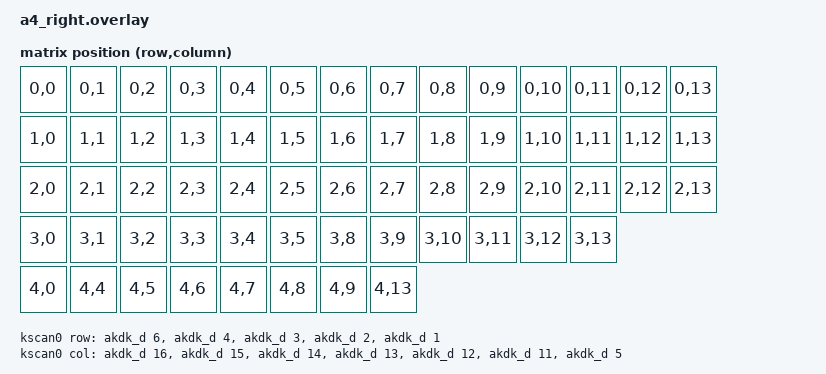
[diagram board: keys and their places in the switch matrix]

#include <dt-bindings/zmk/matrix_transform.h>
#include <input/processors.dtsi>
#include <dt-bindings/zmk/input_transform.h>
#include "layouts.dtsi"

/ {
    chosen {
        zmk,physical-layout = &physical_layout0;
    };

    default_transform: keymap_transform_0 {
        compatible = "zmk,matrix-transform";
        columns = <14>;
        rows = <5>;
        map = <
            RC(0,0) RC(0,1) RC(0,2) RC(0,3) RC(0,4) RC(0,5) RC(0,6) RC(0,7) RC(0,8) RC(0,9) RC(0,10) RC(0,11) RC(0,12) RC(0,13)
			RC(1,0) RC(1,1) RC(1,2) RC(1,3) RC(1,4) RC(1,5) RC(1,6) RC(1,7) RC(1,8) RC(1,9) RC(1,10) RC(1,11) RC(1,12) RC(1,13)
			RC(2,0) RC(2,1) RC(2,2) RC(2,3) RC(2,4) RC(2,5) RC(2,6) RC(2,7) RC(2,8) RC(2,9) RC(2,10) RC(2,11) RC(2,12) RC(2,13)
			RC(3,0) RC(3,1) RC(3,2) RC(3,3) RC(3,4) RC(3,5) RC(3,8) RC(3,9) RC(3,10) RC(3,11) RC(3,12) RC(3,13)
			RC(4,0) RC(4,4) RC(4,5) RC(4,6) RC(4,7) RC(4,8) RC(4,9) RC(4,13)
        >;
		col-offset = <7>;
    };

    kscan0: kscan {
        compatible = "zmk,kscan-gpio-matrix";
        wakeup-source;

        diode-direction = "col2row";
        row-gpios
            = <&akdk_d 6 (GPIO_ACTIVE_HIGH | GPIO_PULL_DOWN)>
			,<&akdk_d 4 (GPIO_ACTIVE_HIGH | GPIO_PULL_DOWN)>
			,<&akdk_d 3 (GPIO_ACTIVE_HIGH | GPIO_PULL_DOWN)>
			,<&akdk_d 2 (GPIO_ACTIVE_HIGH | GPIO_PULL_DOWN)>
			,<&akdk_d 1 (GPIO_ACTIVE_HIGH | GPIO_PULL_DOWN)>
            ;
        col-gpios
            = <&akdk_d 16 GPIO_ACTIVE_HIGH>
			,<&akdk_d 15 GPIO_ACTIVE_HIGH>
			,<&akdk_d 14 GPIO_ACTIVE_HIGH>
			,<&akdk_d 13 GPIO_ACTIVE_HIGH>
			,<&akdk_d 12 GPIO_ACTIVE_HIGH>
			,<&akdk_d 11 GPIO_ACTIVE_HIGH>
			,<&akdk_d 5 GPIO_ACTIVE_HIGH>
            ;
    };

    trackball_listener: trackball_listener {
        compatible = "zmk,input-listener"; // ZMKのinput-listenerノード。デバイスからの入力イベントを受け取り、指定したプロセッサで処理する役割。
        device = <&trackball>; // どのデバイス（ここではtrackball）からの入力をリッスンするかを指定。
        input-processors = <&zip_temp_layer 3 200 &zip_xy_transform (INPUT_TRANSFORM_X_INVERT | INPUT_TRANSFORM_Y_INVERT)>; // 入力処理プロセッサ。ここではzip_temp_layer（おそらく一時的なレイヤー切り替え等の処理）を指定。引数はプロセッサ固有。
    };

    split_inputs {
        #address-cells = <1>;
        #size-cells = <0>;

        trackball_split: trackball_split@0 {
            compatible = "zmk,input-split"; // ZMKのinput-splitノード。左右分割キーボード間で入力データを転送するための仮想デバイス。
            reg = <0>; // デバイスアドレス。分割通信で一意に識別するため。
        };
    };

    trackball_split_listener: trackball_split_listener {
        compatible = "zmk,input-listener"; // 分割側で受信したtrackball入力を処理するリスナー。
        device = <&trackball_split>; // 分割通信で受信したtrackball入力デバイスを指定。
        status = "okay"; // このノードが有効であることを示す。
        input-processors = <&zip_xy_transform (INPUT_TRANSFORM_X_INVERT | INPUT_TRANSFORM_Y_INVERT)>; // 入力値の変換プロセッサ。ここではX/Y軸の反転処理を行う。
    };
};

&physical_layout0 {
    kscan = <&kscan0>;
    transform = <&default_transform>;
};

&pinctrl {
    spi0_default: spi0_default {
        group1 {
            psels = <NRF_PSEL(SPIM_SCK, 0, 12)>,
                <NRF_PSEL(SPIM_MOSI, 1, 9)>,
                <NRF_PSEL(SPIM_MISO, 1, 9)>;
        };
    };

    spi0_sleep: spi0_sleep {
        group1 {
            psels = <NRF_PSEL(SPIM_SCK, 0, 12)>,
                <NRF_PSEL(SPIM_MOSI, 1, 9)>,
                <NRF_PSEL(SPIM_MISO, 1, 9)>;
            low-power-enable;
        };
    };
};

&spi0 {
    status = "okay";
    compatible = "nordic,nrf-spim";
    pinctrl-0 = <&spi0_default>;
    pinctrl-1 = <&spi0_sleep>;
    pinctrl-names = "default", "sleep";
    cs-gpios = <&gpio0 13 GPIO_ACTIVE_LOW>;

    trackball: trackball@0 {
        status = "okay"; // trackballデバイスが有効であることを示す。
        compatible = "pixart,paw3222"; // 使用しているトラックボールIC（PixArt PAW3222）を指定。
        reg = <0>; // SPIバス上のデバイスアドレス。
        spi-max-frequency = <2000000>; // SPI通信の最大周波数（2MHz）。
        irq-gpios = <&gpio0 15 GPIO_ACTIVE_LOW>; // 割り込みピンの指定。trackballからのイベント通知用。
    };
};

